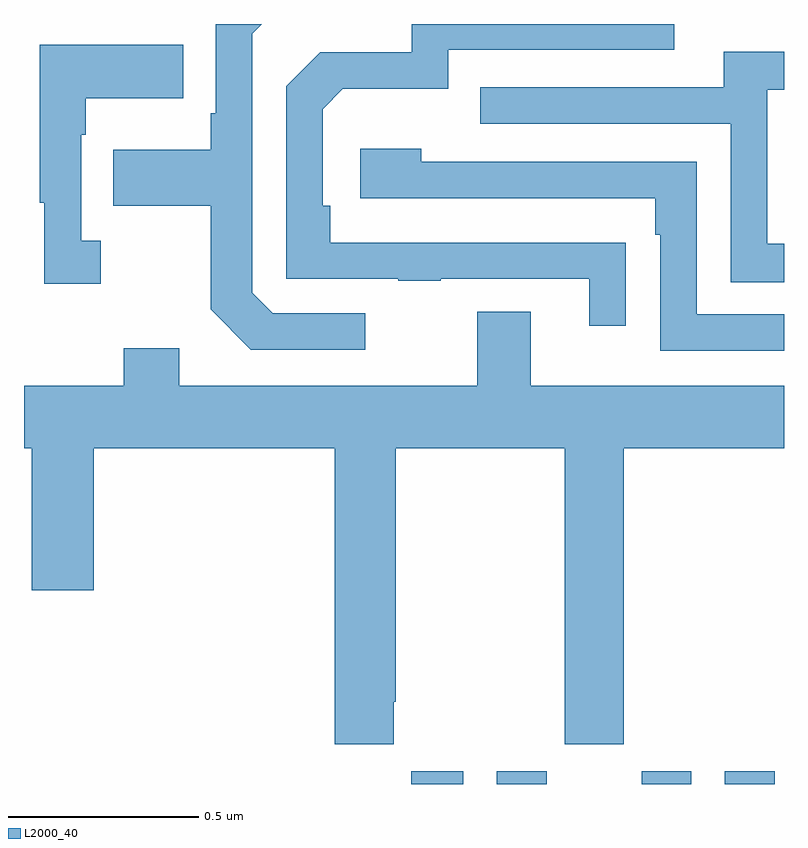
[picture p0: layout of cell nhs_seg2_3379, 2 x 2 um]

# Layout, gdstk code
import gdstk
lib = gdstk.Library(unit=1e-6, precision=1e-09)
def R(c, l, rs):  # rectangles x0, y0, x1, y1
    for r in rs: c.add(gdstk.rectangle(r[:2], r[2:], *l))
def P(c, l, *ps):  # polygons
    for p in ps: c.add(gdstk.Polygon(p, *l))
L2000_40 = (2000, 40)

nhs_seg2_3379 = lib.new_cell('nhs_seg2_3379')
R(nhs_seg2_3379, L2000_40, [(154.019,598.8,154.156,598.834), (154.244,598.8,154.375,598.834), (154.625,598.8,154.756,598.834), (154.844,598.8,154.975,598.834)])
P(nhs_seg2_3379, L2000_40, [(153.898,600.039),(153.654,600.039),(153.6,600.093),(153.6,600.774),(153.626,600.8),(153.504,600.8),(153.504,600.565),(153.492,600.565),(153.492,600.469),(153.235,600.469),(153.235,600.322),(153.492,600.322),(153.492,600.049),(153.597,599.943),(153.898,599.943)],
  [(154.583,600.224),(154.481,600.224),(154.481,600.225),(153.806,600.225),(153.806,600.322),(153.786,600.322),(153.786,600.576),(153.839,600.629),(154.116,600.629),(154.116,600.732),(154.711,600.732),(154.711,600.8),(154.02,600.8),(154.02,600.726),(153.78,600.726),(153.69,600.636),(153.69,600.129),(153.985,600.129),(153.985,600.124),(154.097,600.124),(154.097,600.129),(154.487,600.129),(154.487,600.006),(154.583,600.006)],
  [(153.202,600.23),(153.15,600.23),(153.15,600.509),(153.163,600.509),(153.163,600.605),(153.419,600.605),(153.419,600.745),(153.042,600.745),(153.042,600.329),(153.053,600.329),(153.053,600.117),(153.202,600.117)],
  [(155,600.222),(154.956,600.222),(154.956,600.627),(155,600.627),(155,600.727),(154.841,600.727),(154.841,600.633),(154.201,600.633),(154.201,600.537),(154.86,600.537),(154.86,600.121),(155,600.121)],
  [(155,600.036),(154.77,600.036),(154.77,600.438),(154.046,600.438),(154.046,600.472),(153.885,600.472),(153.885,600.342),(154.661,600.342),(154.661,600.245),(154.674,600.245),(154.674,599.94),(155,599.94)],
  [(153.973,599.017),(153.978,599.017),(153.978,599.684),(154.423,599.684),(154.423,598.905),(154.578,598.905),(154.578,599.684),(155,599.684),(155,599.848),(154.333,599.848),(154.333,600.043),(154.193,600.043),(154.193,599.848),(153.409,599.848),(153.409,599.947),(153.262,599.947),(153.262,599.848),(153,599.848),(153,599.684),(153.02,599.684),(153.02,599.31),(153.184,599.31),(153.184,599.684),(153.818,599.684),(153.818,598.905),(153.973,598.905)])

lib.write_gds('nhs_seg2_3379.gds')
